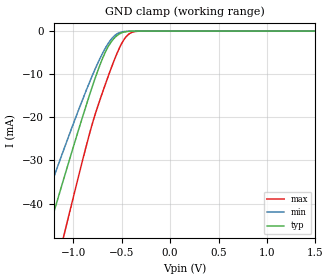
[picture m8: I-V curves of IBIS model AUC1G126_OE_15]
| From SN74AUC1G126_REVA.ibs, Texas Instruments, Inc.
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[Model]   AUC1G126_OE_15
Model_type  Input
Vinl=0.49
Vinh=1.04
| variable   typ   min   max
C_comp   2.26pF   1.88pF   2.83pF
[Temperature Range]   40   100   -40
| Ambient temperature   25   85   -40
[Voltage range]   1.5   1.4   1.6
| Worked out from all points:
|   GND clamp passes 1 mA (typ) near -0.55 V on its own axis
[GND Clamp]
| AUC1G126_OE_15
|   Voltage   I(typ)   I(min)   I(max)
-3.6V     -230.2mA   -193.8mA   -275.4mA
-1.39V    -56.64mA   -45.86mA   -74.42mA
-1.25V    -45.85mA   -36.97mA   -61.54mA
-1.095V   -34.06mA   -27.33mA   -47.3mA
-1.05V    -30.68mA   -24.59mA   -43.18mA
-810mV    -13.36mA   -10.7mA    -22.06mA
-685mV    -5.701mA   -4.633mA   -13.41mA
-565mV    -1.381mA   -914.2uA   -6.102mA
-490mV    -326uA     -167.9uA   -2.495mA
-425mV    -63.97uA   -31.34uA   -688.8uA
-280mV    -781.4nA   -563.5nA   -5.358uA
1.5V      165.9pA    259.7pA    172.1pA
